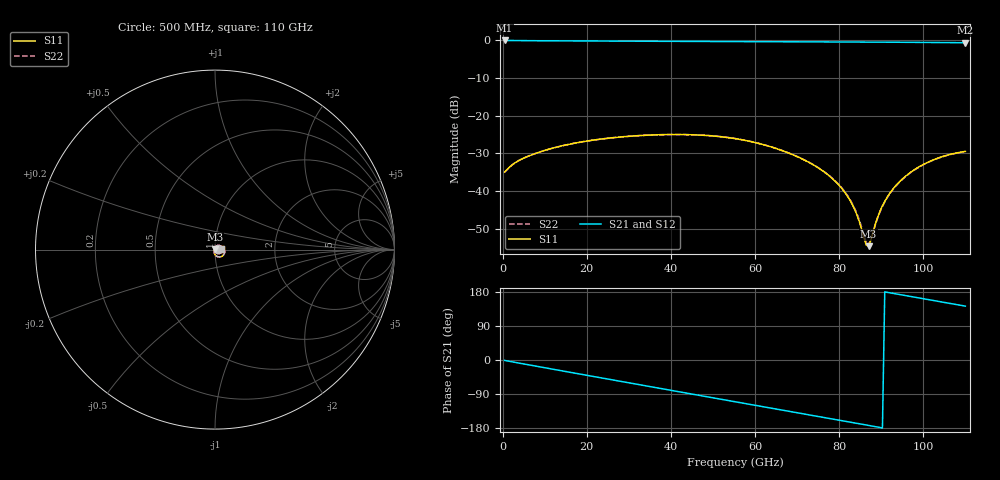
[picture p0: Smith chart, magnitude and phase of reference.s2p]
! Created with skrf 2.2.0 (http://scikit-rf.org).
# Hz S RI R 50.0
!freq ReS11 ImS11 ReS21 ImS21 ReS12 ImS12 ReS22 ImS22
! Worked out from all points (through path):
!   201 points, 500 MHz to 110 GHz, reference 50 ohm
!   highest |S21| = -0.16 dB at 500 MHz (marker M1); lowest = -0.8 dB at 110 GHz (marker M2)
!   group delay of S21, straight-line fit = 5.49 ps
!   lowest |S11| = -54.5 dB at 87 GHz (marker M3), VSWR 1.00, Z = 49.9 + j0.12 ohm
!   |S11| at or under -10 dB: start of sweep to end of sweep
!   |S22| runs from -54.0 to -25.0 dB; largest |S21 - S12| = 3.2e-14
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5e8  0.0178 0.00214  0.9821 -0.0188  0.9821 -0.0188  0.0178 0.00214
2.69e9  0.022 0.00716  0.9739 -0.0967  0.9739 -0.0967  0.022 0.00716
6.5225e9  0.0279 0.0102  0.9483 -0.2259  0.9483 -0.2259  0.0279 0.0102
1.9115e10  0.0445 0.00771  0.7562 -0.6027  0.7562 -0.6027  0.0446 0.0077
2.84225e10  0.0523 -0.00329  0.5232 -0.8076  0.5232 -0.8076  0.0523 -0.00331
3.71825e10  0.053 -0.0174  0.2565 -0.9225  0.2565 -0.9225  0.0531 -0.0175
4.59425e10  0.0456 -0.0318  -0.0301 -0.9515  -0.0301 -0.9515  0.0456 -0.0318
5.525e10  0.0284 -0.0408  -0.3252 -0.8881  -0.3252 -0.8881  0.0284 -0.0409
6.5105e10  0.00783 -0.0358  -0.5977 -0.7279  -0.5977 -0.7279  0.00777 -0.0359
7.3865e10  -0.00274 -0.0222  -0.7851 -0.5169  -0.7851 -0.5169  -0.00285 -0.0223
7.8245e10  -0.0046 -0.0142  -0.8529 -0.3922  -0.8529 -0.3922  -0.00473 -0.0144
8.153e10  -0.0045 -0.00823  -0.8908 -0.2926  -0.8908 -0.2926  -0.00465 -0.00834
8.372e10  -0.00371 -0.00433  -0.9095 -0.2241  -0.9095 -0.2241  -0.00388 -0.00442
8.4815e10  -0.0031 -0.00243  -0.9168 -0.1893  -0.9168 -0.1893  -0.00328 -0.00252
8.64575e10  -0.00192 0.000321  -0.9253 -0.1368  -0.9253 -0.1368  -0.0021 0.00024
8.7005e10  -0.00145 0.00121  -0.9274 -0.1192  -0.9274 -0.1192  -0.00164 0.00113
8.97425e10  0.00141 0.00533  -0.9329 -0.0308  -0.9329 -0.0308  0.00121 0.00527
9.19325e10  0.00431 0.00817  -0.9311 0.0399  -0.9311 0.0399  0.0041 0.00813
9.52175e10  0.00953 0.0114  -0.9181 0.1447  -0.9181 0.1447  0.00932 0.0114
9.95975e10  0.0176 0.0132  -0.8823 0.2797  -0.8823 0.2797  0.0174 0.0132
1.04525e11  0.0265 0.0111  -0.819 0.4212  -0.819 0.4212  0.0263 0.0112
1.1e11  0.0333 0.00497  -0.7243 0.562  -0.7243 0.562  0.0331 0.00506
